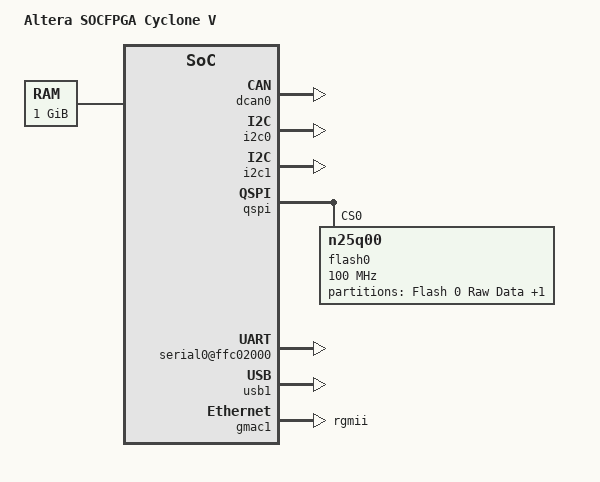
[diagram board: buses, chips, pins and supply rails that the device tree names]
/*
 *  Copyright (C) 2012 Altera Corporation <www.altera.com>
 *
 * This program is free software; you can redistribute it and/or modify
 * it under the terms of the GNU General Public License as published by
 * the Free Software Foundation; either version 2 of the License, or
 * (at your option) any later version.
 *
 * This program is distributed in the hope that it will be useful,
 * but WITHOUT ANY WARRANTY; without even the implied warranty of
 * MERCHANTABILITY or FITNESS FOR A PARTICULAR PURPOSE.  See the
 * GNU General Public License for more details.
 *
 * You should have received a copy of the GNU General Public License
 * along with this program.  If not, see <http://www.gnu.org/licenses/>.
 */

/dts-v1/;
/include/ "socfpga.dtsi"

/ {
	model = "Altera SOCFPGA Cyclone V";
	compatible = "altr,socfpga-cyclone5", "altr,socfpga";

	chosen {
		bootargs = "console=ttyS0,115200 root=/dev/mmcblk0p2 rw rootwait";
	};

	memory {
		name = "memory";
		device_type = "memory";
		reg = <0x0 0x40000000>; /* 1 GB */
	};

	aliases {
		/* this allow the ethaddr uboot environmnet variable contents
		 * to be added to the gmac1 device tree blob.
		 */
		ethernet0 = &gmac1;
	};

	soc {
		clkmgr@ffd04000 {
			clocks {
				osc1 {
					clock-frequency = <25000000>;
				};
			};
		};

		dcan0: d_can@ffc00000 {
			status = "okay";
		};

		dwmmc0@ff704000 {
			num-slots = <1>;
			supports-highspeed;
			broken-cd;
			altr,dw-mshc-ciu-div = <3>;
			altr,dw-mshc-sdr-timing = <0 3>;

			slot@0 {
				reg = <0>;
				bus-width = <4>;
			};
		};

		i2c0: i2c@ffc04000 {
			speed-mode = <0>;
			status = "okay";
		};
		
		i2c1: i2c@ffc05000 {
			speed-mode = <0>;
			status = "okay";
		};

	hps_0_bridges: bridge@0xc0000000 {
		compatible = "altr,bridge-14.1", "simple-bus";
		reg = <0xc0000000 0x20000000>,
			<0xff200000 0x00200000>;
		reg-names = "axi_h2f", "axi_h2f_lw";
		#address-cells = <2>;
		#size-cells = <1>;
		ranges = <0x00000000 0x00000000 0xc0000000 0x00010000>,
			<0x00000001 0x00000100 0xFF200100 0x00000080>,
			<0x00000001 0x00010040 0xFF210040 0x00000020>,
			<0x00000001 0x00010080 0xFF210080 0x00000010>,
			<0x00000001 0x000100C0 0xFF2100C0 0x00000010>;

		alt_vip_vfr_1: vip2@0x100 {	
			compatible = "ALTR,vip-frame-reader-13.0", "ALTR,vip-frame-reader-9.1";
			reg = <0x00000001 0x00000100 0x00000080 >;
			max-width = < 1024 >;	
			max-height = < 768 >;	
			mem-word-width = < 128 >;
			bits-per-color = < 8 >;				
			}; //end vip@0x40100 (alt_vip_vfr_0)

		acl_iface_led_pio: gpio@0x100010040 {
			compatible = "ALTR,pio-13.1", "ALTR,pio-1.0", "altr,pio-1.0";
			reg = <0x00000001 0x00010040 0x00000020 >;
			width = < 4 >;	/* embeddedsw.dts.params.width type NUMBER */
			resetvalue = < 0 >;	/* embeddedsw.dts.params.resetvalue type NUMBER */
			#gpio-cells = < 2 >;
			gpio-controller;
			}; //end gpio@0x100010040 (acl_iface_led_pio)
		acl_iface_dipsw_pio: gpio@0x100010080 {
			compatible = "ALTR,pio-13.1", "ALTR,pio-1.0", "altr,pio-1.0";
			reg = <0x00000001 0x00010080 0x00000010 >;
			interrupt-parent = < &intc >;
			interrupts = < 0 41 1 >;
			width = < 4 >;	/* embeddedsw.dts.params.width type NUMBER */
			resetvalue = < 0 >;	/* embeddedsw.dts.params.resetvalue type NUMBER */
			edge_type = < 2 >;	/* embeddedsw.dts.params.edge_type type NUMBER */
			level_trigger = < 0 >;	/* embeddedsw.dts.params.level_trigger type NUMBER */
			#gpio-cells = < 2 >;
			gpio-controller;
			}; //end gpio@0x100010080 (acl_iface_dipsw_pio)

		acl_iface_button_pio: gpio@0x1000100C0 {
			compatible = "ALTR,pio-13.1", "ALTR,pio-1.0", "altr,pio-1.0";
			reg = <0x00000001 0x000100C0 0x00000010 >;
			interrupt-parent = < &intc >;
			interrupts = < 0 42 1 >;
			width = < 2 >;	/* embeddedsw.dts.params.width type NUMBER */
			resetvalue = < 0 >;	/* embeddedsw.dts.params.resetvalue type NUMBER */
			edge_type = < 1 >;	/* embeddedsw.dts.params.edge_type type NUMBER */
			level_trigger = < 0 >;	/* embeddedsw.dts.params.level_trigger type NUMBER */
			#gpio-cells = < 2 >;
			gpio-controller;
			}; //end gpio@0x1000100C0 (acl_iface_button_pio)

	}; //end bridge@0xc0000000 (hps_0_bridges)


		qspi: spi@ff705000 {
			compatible = "cadence,qspi";
                        #address-cells = <1>;
			#size-cells = <0>;
			reg = <0xff705000 0x1000>,
				<0xffa00000 0x1000>;
			interrupts = <0 151 4>;
			master-ref-clk = <400000000>;
			ext-decoder = <0>;  /* external decoder */
			num-chipselect = <4>;
			fifo-depth = <128>;
			bus-num = <2>;

			flash0: n25q00@0 {
				#address-cells = <1>;
				#size-cells = <1>;
				compatible = "n25q00";
				reg = <0>;      /* chip select */
				spi-max-frequency = <100000000>;
				m25p,fast-read;
				page-size = <256>;
				block-size = <16>; /* 2^16, 64KB */
				read-delay = <4>;  /* delay value in read data capture register */
				tshsl-ns = <50>;
				tsd2d-ns = <50>;
				tchsh-ns = <4>;
				tslch-ns = <4>;

				partition@qspi-boot {
					/* 8MB for raw data. */
					label = "Flash 0 Raw Data";
					reg = <0x0 0x800000>;
				};
				partition@qspi-rootfs {
					/* 120MB for jffs2 data. */
					label = "Flash 0 jffs2 Filesystem";
					reg = <0x800000 0x7800000>;
				};
			};
		};

		serial0@ffc02000 {
			status = "okay";
		};

		sysmgr@ffd08000 {
			cpu1-start-addr = <0xffd080c4>;
		};

		usb1: usb@ffb40000 {
			status = "okay";
		};

		watchdog0: wd@ffd02000 {
			status = "okay";
		};
	};
};

&gmac1 {
	phy-mode = "rgmii";
	snps,phy-addr = <0xffffffff>; /* probe for phy addr */
	rxd0-skew-ps = <0>;
	rxd0-skew-ps = <0>;
	rxd1-skew-ps = <0>;
	rxd2-skew-ps = <0>;
	rxd3-skew-ps = <0>;
	txen-skew-ps = <0>;
	txc-skew-ps = <2600>;
	rxdv-skew-ps = <0>;
	rxc-skew-ps = <2000>;
	snps,max-mtu = <3800>;
	status = "okay";
};
